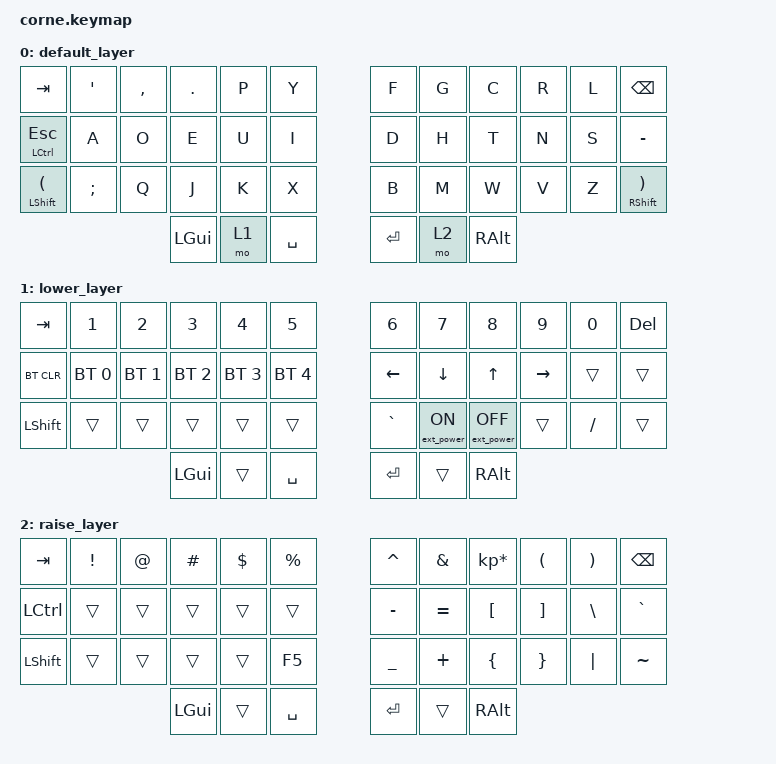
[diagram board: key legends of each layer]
/*
 * Copyright (c) 2020 The ZMK Contributors
 *
 * SPDX-License-Identifier: MIT
 */

#include <behaviors.dtsi>
#include <dt-bindings/zmk/keys.h>
#include <dt-bindings/zmk/bt.h>
#include <dt-bindings/zmk/ext_power.h>

/ {
        keymap {
                compatible = "zmk,keymap";

                default_layer {
// -----------------------------------------------------------------------------------------
// |  TAB |  '  |  ,  |  .  |  P  |  Y  |   |  F  |  G   |  C  |  R  |  L  | BKSP |
// | CTRL |  A  |  O  |  E  |  U  |  I  |   |  D  |  H   |  T  |  N  |  S  |  -   |
// | SHFT |  ;  |  Q  |  J  |  K  |  X  |   |  B  |  M   |  W  |  V  |  Z  | RSHIFT  |
//                    | GUI | LWR | SPC |   | ENT | RSE  | ALT |
                        bindings = <
   &kp TAB   &kp APOSTROPHE &kp COMMA &kp PERIOD &kp P  &kp Y   &kp F &kp G  &kp C  &kp R   &kp L    &kp BSPC
   &mt LEFT_CONTROL ESC &kp A &kp O &kp E &kp U &kp I   &kp D &kp H  &kp T     &kp N   &kp S &kp MINUS
   &mt LSHFT LPAR &kp SEMI &kp Q &kp J &kp K &kp X   &kp B &kp M  &kp W &kp V &kp Z &mt RSHIFT RPAR
                  &kp LGUI &mo 1 &kp SPACE   &kp RET &mo 2 &kp RALT
                        >;
                };
                lower_layer {
// -----------------------------------------------------------------------------------------
// |  TAB |  1  |  2  |  3  |  4  |  5  |   |  6  |  7  |  8  |  9  |  0  | DEL |
// | BTCLR| BT1 | BT2 | BT3 | BT4 | BT5 |   | LFT | DWN |  UP | RGT |     |      |
// | SHFT |     |     |     |     |     |   |  `  |     |     |     |  /  |     |
//                    | GUI |     | SPC |   | ENT |     | ALT |
                        bindings = <
   &kp TAB    &kp N1       &kp N2       &kp N3       &kp N4       &kp N5         &kp N6   &kp N7   &kp N8 &kp N9    &kp N0 &kp DEL
   &bt BT_CLR &bt BT_SEL 0 &bt BT_SEL 1 &bt BT_SEL 2 &bt BT_SEL 3 &bt BT_SEL 4   &kp LEFT &kp DOWN &kp UP &kp RIGHT &trans &trans
   &kp LSHFT  &trans       &trans       &trans       &trans       &trans         &kp GRAVE   &ext_power EP_ON   &ext_power EP_OFF &trans    &kp FSLH  &trans
                          	        &kp LGUI     &trans       &kp SPACE      &kp RET  &trans   &kp RALT
                        >;
                };

                raise_layer {
// -----------------------------------------------------------------------------------------
// |  TAB |  !  |  @  |  #  |  $  |  %  |   |  ^  |  &  |  *  |  (  |  )  | BKSP |
// | CTRL |     |     |     |     |     |   |  -  |  =  |  [  |  ]  |  \  |  `   |
// | SHFT |     |     |     |     |  F5 |   |  _  |  +  |  {  |  }  | "|" |  ~   |
//                    | GUI |     | SPC |   | ENT |     | ALT |
                        bindings = <
   &kp  TAB  &kp EXCL &kp AT &kp HASH &kp DLLR &kp PRCNT   &kp CARET &kp AMPS  &kp KP_MULTIPLY &kp LPAR &kp RPAR &kp BSPC
   &kp LCTRL &trans   &trans &trans   &trans   &trans      &kp MINUS &kp EQUAL &kp LBKT        &kp RBKT &kp BSLH &kp GRAVE
   &kp LSHFT &trans   &trans &trans   &trans   &kp F5      &kp UNDER &kp PLUS  &kp LBRC        &kp RBRC &kp PIPE &kp TILDE
                    	     &kp LGUI &trans   &kp SPACE   &kp RET   &trans    &kp RALT
                        >;
                };
        };
};
